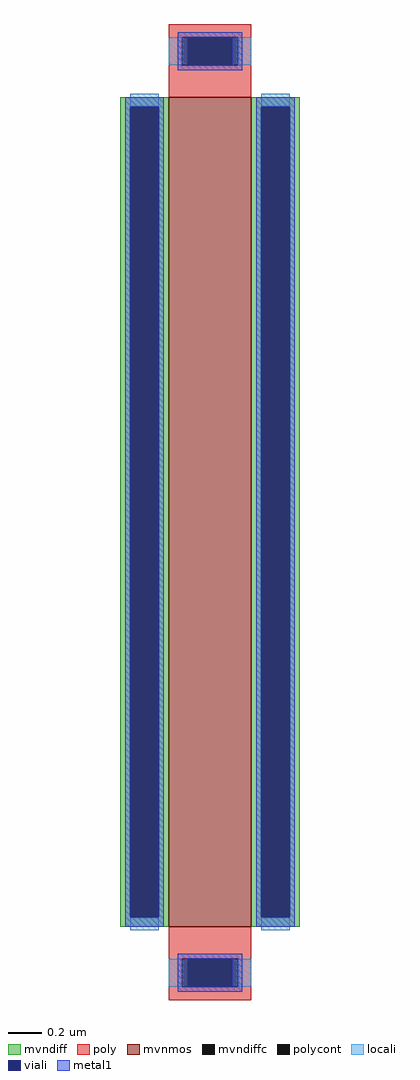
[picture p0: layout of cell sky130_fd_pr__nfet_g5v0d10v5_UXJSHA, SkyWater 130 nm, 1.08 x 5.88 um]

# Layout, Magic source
magic
tech sky130A
magscale 1 2
<< mvnmos >>
rect -50 -500 50 500
<< mvndiff >>
rect -108 488 -50 500
rect -108 -488 -96 488
rect -62 -488 -50 488
rect -108 -500 -50 -488
rect 50 488 108 500
rect 50 -488 62 488
rect 96 -488 108 488
rect 50 -500 108 -488
<< mvndiffc >>
rect -96 -488 -62 488
rect 62 -488 96 488
<< poly >>
rect -50 572 50 588
rect -50 538 -34 572
rect 34 538 50 572
rect -50 500 50 538
rect -50 -538 50 -500
rect -50 -572 -34 -538
rect 34 -572 50 -538
rect -50 -588 50 -572
<< polycont >>
rect -34 538 34 572
rect -34 -572 34 -538
<< locali >>
rect -50 538 -34 572
rect 34 538 50 572
rect -96 488 -62 504
rect -96 -504 -62 -488
rect 62 488 96 504
rect 62 -504 96 -488
rect -50 -572 -34 -538
rect 34 -572 50 -538
<< viali >>
rect -27 538 27 572
rect -96 -488 -62 488
rect 62 -488 96 488
rect -27 -572 27 -538
<< metal1 >>
rect -39 572 39 578
rect -39 538 -27 572
rect 27 538 39 572
rect -39 532 39 538
rect -102 488 -56 500
rect -102 -488 -96 488
rect -62 -488 -56 488
rect -102 -500 -56 -488
rect 56 488 102 500
rect 56 -488 62 488
rect 96 -488 102 488
rect 56 -500 102 -488
rect -39 -538 39 -532
rect -39 -572 -27 -538
rect 27 -572 39 -538
rect -39 -578 39 -572
<< properties >>
string gencell sky130_fd_pr__nfet_g5v0d10v5
string parameters w 5 l 0.5 m 1 nf 1 diffcov 100 polycov 100 guard 0 glc 1 grc 1 gtc 1 gbc 1 tbcov 100 rlcov 100 topc 1 botc 1 poverlap 0 doverlap 1 lmin 0.50 wmin 0.42 compatible {sky130_fd_pr__nfet_01v8 sky130_fd_pr__nfet_01v8_lvt  sky130_fd_bs_flash__special_sonosfet_star  sky130_fd_pr__nfet_g5v0d10v5 sky130_fd_pr__nfet_05v0_nvt  sky130_fd_pr__nfet_03v3_nvt} full_metal 1 viasrc 100 viadrn 100 viagate 80 viagb 0 viagr 0 viagl 0 viagt 0
string library sky130
<< end >>
